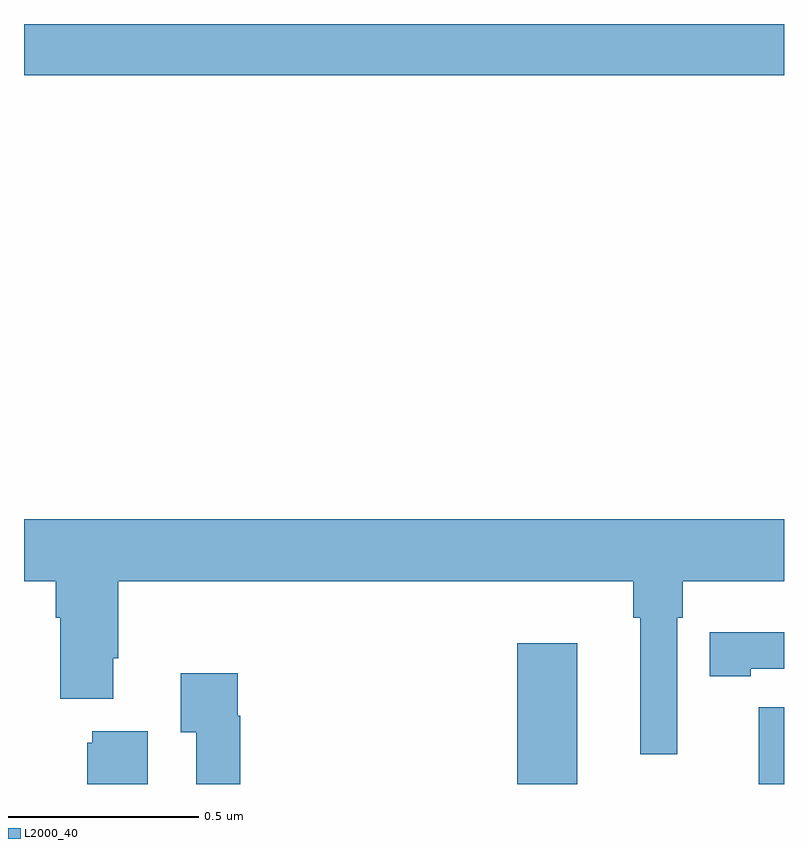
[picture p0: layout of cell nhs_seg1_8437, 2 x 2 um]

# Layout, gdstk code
import gdstk
lib = gdstk.Library(unit=1e-6, precision=1e-09)
def R(c, l, rs):  # rectangles x0, y0, x1, y1
    for r in rs: c.add(gdstk.rectangle(r[:2], r[2:], *l))
def P(c, l, *ps):  # polygons
    for p in ps: c.add(gdstk.Polygon(p, *l))
L2000_40 = (2000, 40)

nhs_seg1_8437 = lib.new_cell('nhs_seg1_8437')
R(nhs_seg1_8437, L2000_40, [(217.298,551.199,217.456,551.569), (217.934,551.199,218,551.401), (216,553.064,218,553.199)])
P(nhs_seg1_8437, L2000_40, [(216,551.732),(216.083,551.732),(216.083,551.636),(216.095,551.636),(216.095,551.423),(216.235,551.423),(216.235,551.53),(216.248,551.53),(216.248,551.732),(217.603,551.732),(217.603,551.636),(217.622,551.636),(217.622,551.277),(217.719,551.277),(217.719,551.636),(217.733,551.636),(217.733,551.732),(218,551.732),(218,551.896),(216,551.896)],
  [(217.912,551.502),(218,551.502),(218,551.599),(217.912,551.599),(217.912,551.598),(217.804,551.598),(217.804,551.482),(217.912,551.482)],
  [(216.569,551.378),(216.562,551.378),(216.562,551.491),(216.413,551.491),(216.413,551.335),(216.453,551.335),(216.453,551.199),(216.569,551.199)],
  [(216.325,551.338),(216.179,551.338),(216.179,551.307),(216.167,551.307),(216.167,551.199),(216.325,551.199)])

lib.write_gds('nhs_seg1_8437.gds')
